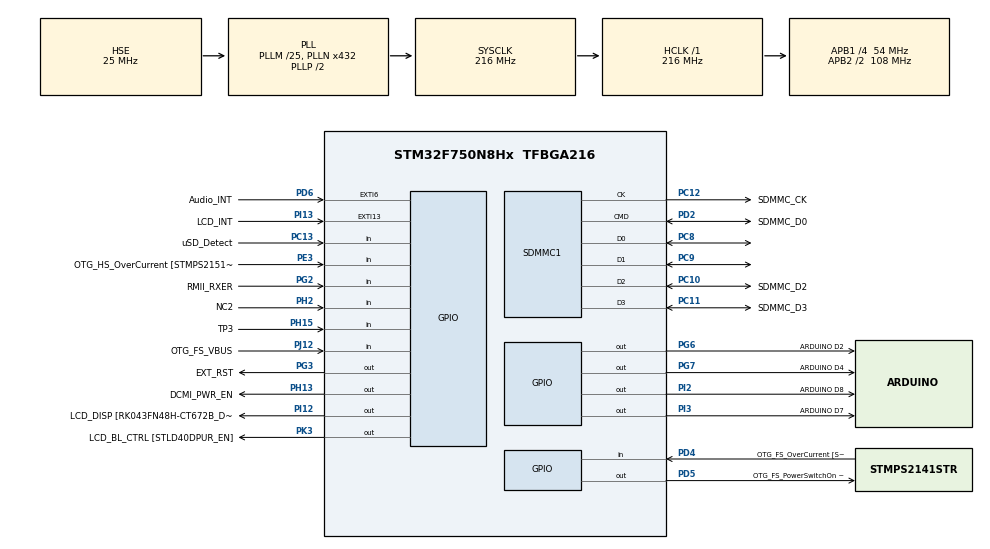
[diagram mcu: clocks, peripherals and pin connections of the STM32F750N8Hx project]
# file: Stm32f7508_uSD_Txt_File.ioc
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PD12.GPIO_Label=QSPI_D1 [N25Q128A13EF840E_DQ1]
SH.FMC_A0.0=FMC_A0
PH15.GPIO_Label=TP3
PG8.Signal=FMC_SDCLK
PG0.Signal=FMC_A10
PI15.GPIO_Label=LCD_R0 [RK043FN48H-CT672B_R0]
PK1.Signal=LTDC_G6
SH.FMC_D5_DA5.0=FMC_D5
PF10.GPIO_PuPd=GPIO_NOPULL
SH.FMC_D9_DA9.0=FMC_D9
PG15.GPIO_Label=FMC_SDNCAS [MT48LC4M32B2B5-6A_CAS]
PF7.Signal=ADC3_IN5
SH.FMC_SDNWE.0=FMC_SDNWE
PH9.Signal=DCMI_D0
SH.FMC_D11_DA11.0=FMC_D11
RCC.APB2TimFreq_Value=216000000
PB6.Signal=QUADSPI_BK1_NCS
PC7.Signal=USART6_RX
PD0.Signal=FMC_D2_DA2
PD8.Signal=FMC_D13_DA13
PE1.Signal=FMC_NBL1
PF1.GPIO_Label=FMC_A1 [MT48LC4M32B2B5-6A_A1]
PI4.GPIO_Label=SAI2_MCLKA [WM8994ECS/R_MCLK1]
PK4.GPIO_Label=LCD_B5 [RK043FN48H-CT672B_B5]
PD1.GPIO_Label=FMC_D3 [MT48LC4M32B2B5-6A_DQ3]
PB12.GPIO_Label=ULPI_D5 [USB3320C-EZK_D5]
PF12.GPIO_Label=FMC_A6 [MT48LC4M32B2B5-6A_A6]
SH.S_TIM12_CH1.0=TIM12_CH1
PC4.GPIO_Label=RMII_RXD0 [LAN8742A-CZ-TR_RXD0]
PE9.Signal=FMC_D6_DA6
SH.FMC_A2.0=FMC_A2
PB1.GPIO_Label=ULPI_D2 [USB3320C-EZK_D2]
PE4.GPIO_Label=LCD_B0 [RK043FN48H-CT672B_B0]
PG4.GPIO_Label=FMC_BA0 [MT48LC4M32B2B5-6A_BA0]
PC9.Mode=SD_4_bits_Wide_bus
PA8.Signal=S_TIM1_CH1
SH.FMC_D1_DA1.0=FMC_D1
PJ14.Signal=LTDC_B2
PB9.Signal=I2C1_SDA
Mcu.Package=TFBGA216
PB1.Signal=USB_OTG_HS_ULPI_D2
PB14.GPIO_PuPd=GPIO_NOPULL
PD12.Signal=QUADSPI_BK1_IO1
PA10.Signal=USB_OTG_FS_ID
PE12.GPIO_Label=FMC_D9 [MT48LC4M32B2B5-6A_DQ9]
PC11.Mode=SD_4_bits_Wide_bus
RCC.APB2CLKDivider=RCC_HCLK_DIV2
RCC.APB1TimFreq_Value=108000000
PC14/OSC32_IN.GPIO_Label=RCC_OSC32_IN
PF9.GPIO_PuPd=GPIO_NOPULL
PA4.GPIO_Label=DCMI_HSYNC
PA8.GPIO_Speed=GPIO_SPEED_FREQ_LOW
PD15.Signal=FMC_D1_DA1
PJ1.GPIO_Label=LCD_R2 [RK043FN48H-CT672B_R2]
PG12.Signal=LTDC_B4
SH.FMC_A4.0=FMC_A4
PK4.Signal=LTDC_B5
PH13.Signal=GPIO_Output
PI13.GPIO_ModeDefaultEXTI=GPIO_MODE_EVT_RISING
PG5.Signal=FMC_A15_BA1
PC13.Signal=GPIO_Input
SH.FMC_D10_DA10.0=FMC_D10
PD3.Signal=DCMI_D5
PC2.Signal=USB_OTG_HS_ULPI_DIR
PI12.Signal=GPIO_Output
RCC.PWR_Regulator_Voltage_Scale=PWR_REGULATOR_VOLTAGE_SCALE1
PJ11.Signal=LTDC_G4
PF8.GPIO_Label=ARDUINO A3
PD10.Signal=FMC_D15_DA15
PB8.GPIO_Label=ARDUINO SCL/D15
PJ8.GPIO_Label=LCD_G1 [RK043FN48H-CT672B_G1]
PJ3.Signal=LTDC_R4
PI8.GPIO_Label=NC1 [TP2]
PA8.GPIO_Label=ARDUINO PWM/D10
PE8.GPIO_Label=FMC_D5 [MT48LC4M32B2B5-6A_DQ5]
PH11.GPIO_Label=DCMI_D2
PJ11.GPIO_Label=LCD_G4 [RK043FN48H-CT672B_G4]
PB14.Signal=SPI2_MISO
PA5.Signal=USB_OTG_HS_ULPI_CK
PC12.Mode=SD_4_bits_Wide_bus
PF10.GPIO_Mode=GPIO_MODE_ANALOG
PJ4.GPIO_Label=LCD_R5 [RK043FN48H-CT672B_R5]
PE1.GPIO_Label=FMC_NBL1 [MT48LC4M32B2B5-6A_DQM1]
PK7.GPIO_Label=LCD_DE [RK043FN48H-CT672B_DE]
PI7.Signal=SAI2_FS_A
SH.FMC_A6.0=FMC_A6
PE14.Signal=FMC_D11_DA11
PB4.GPIO_Label=ARDUINO PWM/D3
PB15.GPIO_Label=ARDUINO MOSI/PWM/D11
PG7.GPIO_Label=ARDUINO D4
PI2.Signal=GPIO_Output
PF4.GPIO_Label=FMC_A4 [MT48LC4M32B2B5-6A_A4]
PA1.GPIO_Label=RMII_REF_CLK [LAN8742A-CZ-TR_REFCLK0]
PF13.Signal=FMC_A7
PA0/WKUP.GPIO_PuPd=GPIO_NOPULL
PJ15.GPIO_Label=LCD_B3 [RK043FN48H-CT672B_B3]
PC7.GPIO_Label=ARDUINO RX/D0
PC8.Mode=SD_4_bits_Wide_bus
PA5.GPIO_Label=ULPI_CLK [USB3320C-EZK_CLKOUT]
PE5.GPIO_Label=DCMI_D6
PC12.GPIO_Label=SDMMC_CK
PJ8.Signal=LTDC_G1
PJ0.GPIO_Label=LCD_R1 [RK043FN48H-CT672B_R1]
ProjectManager.HeapSize=0x200
PH6.Signal=S_TIM12_CH1
NVIC.PriorityGroup=NVIC_PRIORITYGROUP_4
PF0.GPIO_Label=FMC_A0 [MT48LC4M32B2B5-6A_A0]
PI1.GPIO_Mode=GPIO_MODE_AF_PP
PE3.Signal=GPIO_Input
PC15/OSC32_OUT.Signal=RCC_OSC32_OUT
PF4.Signal=FMC_A4
PD2.Signal=SDMMC1_CMD
PI1.GPIO_Label=ARDUINO SCK/D13
Mcu.Family=STM32F7
PK3.Signal=GPIO_Output
SH.FMC_A8.0=FMC_A8
PC15/OSC32_OUT.GPIO_Label=RCC_OSC32_OUT
PH14.Signal=DCMI_D4
PH10.Signal=DCMI_D1
SH.FMC_D14_DA14.0=FMC_D14
PG2.Signal=GPIO_Input
PE11.GPIO_Label=FMC_D8 [MT48LC4M32B2B5-6A_DQ8]
PD0.GPIO_Label=FMC_D2 [MT48LC4M32B2B5-6A_DQ2]
SH.FMC_A14_BA0.0=FMC_BA0
SH.FMC_A11.0=FMC_A11
PB13.GPIO_Label=ULPI_D6 [USB3320C-EZK_D6]
PG5.GPIO_Label=FMC_BA1 [MT48LC4M32B2B5-6A_BA1]
PB15.Signal=SPI2_MOSI
PG15.Signal=FMC_SDNCAS
PG11.Signal=ETH_TX_EN
PJ5.GPIO_Label=LCD_R6 [RK043FN48H-CT672B_R6]
PJ14.GPIO_Label=LCD_B2 [RK043FN48H-CT672B_B2]
PD13.Signal=QUADSPI_BK1_IO3
PA15.GPIO_Label=ARDUINO PWM/D9
PJ2.Signal=LTDC_R3
RCC.FLatency=FLASH_LATENCY_7
SH.FMC_NBL1.0=FMC_NBL1
PA15.GPIO_ModeDefaultPP=GPIO_MODE_AF_PP
RCC.HSE_VALUE=25000000
PF7.GPIO_Mode=GPIO_MODE_ANALOG
PF8.GPIO_PuPd=GPIO_NOPULL
PH7.GPIO_Label=LCD_SCL [RK043FN48H-CT672B_SCL]
PJ7.GPIO_Label=LCD_G0 [RK043FN48H-CT672B_G0]
PF11.Signal=FMC_SDNRAS
PC11.GPIO_Label=SDMMC_D3
PJ12.GPIO_Label=OTG_FS_VBUS
PB7.Signal=USART1_RX
SH.S_TIM3_CH1.0=TIM3_CH1
PB7.GPIO_Label=VCP_RX [STM32F103CBT6_PA2]
PD13.GPIO_Label=QSPI_D3 [N25Q128A13EF840E_DQ3]
PA6.Signal=DCMI_PIXCLK
PB15.GPIO_PuPd=GPIO_NOPULL
PD5.GPIO_Label=OTG_FS_PowerSwitchOn [STMPS2141STR_EN]
PA15.Signal=S_TIM2_CH1_ETR
PF8.Signal=ADC3_IN6
PG0.GPIO_Label=FMC_A10 [MT48LC4M32B2B5-6A_A10]
PI0.GPIO_Label=ARDUINO PWM/CS/D5
PA0/WKUP.GPIO_Mode=GPIO_MODE_ANALOG
PB5.GPIO_Label=ULPI_D7 [USB3320C-EZK_D7]
PG11.GPIO_Label=RMII_TX_EN [LAN8742A-CZ-TR_TXEN]
PD3.GPIO_Label=DCMI_D5
PC5.Signal=ETH_RXD1
PE7.Signal=FMC_D4_DA4
PD6.Signal=GPXTI6
PF3.GPIO_Label=FMC_A3 [MT48LC4M32B2B5-6A_A3]
PE2.GPIO_Label=QSPI_D2 [N25Q128A13EF840E_DQ2]
PB4.Signal=S_TIM3_CH1
PG2.GPIO_Label=RMII_RXER
PA3.Signal=USB_OTG_HS_ULPI_D0
PK6.Signal=LTDC_B7
PD15.GPIO_Label=FMC_D1 [MT48LC4M32B2B5-6A_DQ1]
PG7.Signal=GPIO_Output
PH12.GPIO_Label=DCMI_D3
PC11.Signal=SDMMC1_D3
PI14.Signal=LTDC_CLK
PC8.Signal=SDMMC1_D0
PC10.Mode=SD_4_bits_Wide_bus
PE14.GPIO_Label=FMC_D11 [MT48LC4M32B2B5-6A_DQ11]
PD9.Signal=FMC_D14_DA14
PA9.GPIO_PuPd=GPIO_NOPULL
PA12.GPIO_Label=OTG_FS_P
PD8.GPIO_Label=FMC_D13 [MT48LC4M32B2B5-6A_DQ13]
PG8.GPIO_Label=FMC_SDCLK [MT48LC4M32B2B5-6A_CLK]
PA13.Signal=SYS_JTMS-SWDIO
SH.S_TIM1_CH1.0=TIM1_CH1
PF6.Signal=ADC3_IN4
PB10.GPIO_Label=ULPI_D3 [USB3320C-EZK_D3]
SH.FMC_D13_DA13.0=FMC_D13
PH8.Signal=I2C3_SDA
RCC.USBFreq_Value=216000000
PF9.GPIO_Label=ARDUINO A2
PD10.GPIO_Label=FMC_D15 [MT48LC4M32B2B5-6A_DQ15]
PA1.Signal=ETH_REF_CLK
PD2.Mode=SD_4_bits_Wide_bus
board=STM32F7508-DK
RCC.VCOOutputFreq_Value=432000000
PI9.Signal=LTDC_VSYNC
PH4.GPIO_Label=ULPI_NXT [USB3320C-EZK_NXT]
PI13.GPIO_Label=LCD_INT
PI4.Signal=SAI2_MCLK_A
PC1.GPIO_Label=RMII_MDC [LAN8742A-CZ-TR_MDC]
SH.FMC_D12_DA12.0=FMC_D12
PF15.GPIO_Label=FMC_A9 [MT48LC4M32B2B5-6A_A9]
PI1.GPIO_Speed=GPIO_SPEED_FREQ_LOW
PF1.Signal=FMC_A1
PF8.GPIO_Mode=GPIO_MODE_ANALOG
PJ0.Signal=LTDC_R1
PE0.Signal=FMC_NBL0
PE7.GPIO_Label=FMC_D4 [MT48LC4M32B2B5-6A_DQ4]
PE12.Signal=FMC_D9_DA9
RCC.SYSCLKFreq_VALUE=216000000
PJ5.Signal=LTDC_R6
PA15.GPIO_Speed=GPIO_SPEED_FREQ_LOW
RCC.HSI_VALUE=16000000
PA8.GPIO_PuPd=GPIO_NOPULL
PH0/OSC_IN.GPIO_Label=OSC_25M [NZ2520SB-25.00M_OUT]
PF9.GPIO_Mode=GPIO_MODE_ANALOG
PI3.GPIO_Label=ARDUINO D7
PH3.Signal=FMC_SDNE0
RCC.PLLM=25
RCC.PLLN=432
PA9.GPIO_Speed=GPIO_SPEED_FREQ_LOW
PB8.GPIO_Speed=GPIO_SPEED_FREQ_LOW
PJ2.GPIO_Label=LCD_R3 [RK043FN48H-CT672B_R3]
PB14.GPIO_Mode=GPIO_MODE_AF_PP
PB12.Signal=USB_OTG_HS_ULPI_D5
PJ13.Signal=LTDC_B1
PK1.GPIO_Label=LCD_G6 [RK043FN48H-CT672B_G6]
PA3.GPIO_Label=ULPI_D0 [USB3320C-EZK_D0]
SH.FMC_D7_DA7.0=FMC_D7
PK5.Signal=LTDC_B6
PB15.GPIO_Mode=GPIO_MODE_AF_PP
PH12.Signal=DCMI_D3
VP_FATFS_VS_SDIO.Mode=SDIO
PG4.Signal=FMC_A14_BA0
PC12.Signal=SDMMC1_CK
PB14.GPIO_Label=ARDUINO MISO/D12
PA14.GPIO_Label=SWCLK
PG6.GPIO_Label=ARDUINO D2
PH6.GPIO_Label=ARDUINO PWM/D6
PK6.GPIO_Label=LCD_B7 [RK043FN48H-CT672B_B7]
PC6.GPIO_Label=ARDUINO TX/D1
PB6.GPIO_Label=QSPI_NCS [N25Q128A13EF840E_S]
PI6.GPIO_Label=SAI2_SDA [WM8994ECS/R_DACDAT1]
PJ6.GPIO_Label=LCD_R7 [RK043FN48H-CT672B_R7]
PB13.Signal=USB_OTG_HS_ULPI_D6
PD6.GPIO_Label=Audio_INT
PG13.Signal=ETH_TXD0
PE6.GPIO_Label=DCMI_D7
PF6.GPIO_Label=ARDUINO A5
RCC.SYSCLKSource=RCC_SYSCLKSOURCE_PLLCLK
PJ10.Signal=LTDC_G3
SH.FMC_A15_BA1.0=FMC_BA1
PJ13.GPIO_Label=LCD_B1 [RK043FN48H-CT672B_B1]
PI0.GPIO_PuPd=GPIO_NOPULL
PH5.Signal=FMC_SDNWE
PD4.Signal=GPIO_Input
PH1/OSC_OUT.Signal=RCC_OSC_OUT
PC3.Signal=FMC_SDCKE0
PE5.Signal=DCMI_D6
PF10.GPIO_Label=ARDUINO A1
PH10.GPIO_Label=DCMI_D1
PB2.Signal=QUADSPI_CLK
PI6.Signal=SAI2_SD_A
PI3.Signal=GPIO_Output
PE2.Signal=QUADSPI_BK1_IO2
PF3.Signal=FMC_A3
PE10.Signal=FMC_D7_DA7
PD6.GPIO_ModeDefaultEXTI=GPIO_MODE_EVT_RISING
PJ4.Signal=LTDC_R5
SH.FMC_A1.0=FMC_A1
PH2.Signal=GPIO_Input
SH.FMC_SDCLK.0=FMC_SDCLK
PF14.Signal=FMC_A8
PF6.GPIO_Mode=GPIO_MODE_ANALOG
PE10.GPIO_Label=FMC_D7 [MT48LC4M32B2B5-6A_DQ7]
SH.FMC_D3_DA3.0=FMC_D3
PI10.GPIO_Label=LCD_HSYNC [RK043FN48H-CT672B_HSYNC]
PB7.GPIO_PuPd=GPIO_NOPULL
PH15.Signal=GPIO_Input
PD9.GPIO_Label=FMC_D14 [MT48LC4M32B2B5-6A_DQ14]
PG9.Signal=DCMI_VSYNC
PA9.GPIO_Label=VCP_TX [STM32F103CBT6_PA3]
PC6.Signal=USART6_TX
PB11.GPIO_Label=ULPI_D4 [USB3320C-EZK_D4]
PD7.Signal=SPDIFRX_IN0
PD1.Signal=FMC_D3_DA3
PA11.GPIO_Label=OTG_FS_N
PF14.GPIO_Label=FMC_A8 [MT48LC4M32B2B5-6A_A8]
PC0.Signal=USB_OTG_HS_ULPI_STP
RCC.APB1CLKDivider=RCC_HCLK_DIV4
PF13.GPIO_Label=FMC_A7 [MT48LC4M32B2B5-6A_A7]
PG13.GPIO_Label=RMII_TXD0 [LAN8742A-CZ-TR_TXD0]
PG10.Signal=SAI2_SD_B
SH.FMC_A3.0=FMC_A3
PJ7.Signal=LTDC_G0
PI0.GPIO_Speed=GPIO_SPEED_FREQ_LOW
PB14.GPIO_Speed=GPIO_SPEED_FREQ_LOW
SH.FMC_D15_DA15.0=FMC_D15
PA9.Signal=USART1_TX
PB4.GPIO_PuPd=GPIO_NOPULL
PE9.GPIO_Label=FMC_D6 [MT48LC4M32B2B5-6A_DQ6]
PB10.Signal=USB_OTG_HS_ULPI_D3
PJ15.Signal=LTDC_B3
PH9.GPIO_Label=DCMI_D0
PI9.GPIO_Label=LCD_VSYNC [RK043FN48H-CT672B_VSYNC]
PA8.GPIO_ModeDefaultPP=GPIO_MODE_AF_PP
PE15.Signal=FMC_D12_DA12
PE8.Signal=FMC_D5_DA5
PI1.Signal=SPI2_SCK
PA0/WKUP.GPIO_Label=ARDUINO A0
PG14.GPIO_Label=RMII_TXD1 [LAN8742A-CZ-TR_TXD1]
SH.FMC_SDNCAS.0=FMC_SDNCAS
PF7.GPIO_PuPd=GPIO_NOPULL
PH14.GPIO_Label=DCMI_D4
PA4.Signal=DCMI_HSYNC
PB5.Signal=USB_OTG_HS_ULPI_D7
PE13.GPIO_Label=FMC_D10 [MT48LC4M32B2B5-6A_DQ10]
PD11.Signal=QUADSPI_BK1_IO0
SH.FMC_A5.0=FMC_A5
PA11.Signal=USB_OTG_FS_DM
SH.S_TIM2_CH1_ETR.0=TIM2_CH1
PK3.GPIO_Label=LCD_BL_CTRL [STLD40DPUR_EN]
PF9.Signal=ADC3_IN7
PF6.GPIO_PuPd=GPIO_NOPULL
PC3.GPIO_Label=FMC_SDCKE0 [MT48LC4M32B2B5-6A_CKE]
PG3.GPIO_Label=EXT_RST
PB0.Signal=USB_OTG_HS_ULPI_D1
PC1.Signal=ETH_MDC
PG10.GPIO_Label=SAI2_SDB [WM8994ECS/R_ADCDAT1]
PD2.GPIO_Label=SDMMC_D0
PH2.GPIO_Label=NC2
PK7.Signal=LTDC_DE
RCC.CortexFreq_Value=216000000
PG6.Signal=GPIO_Output
PC10.Signal=SDMMC1_D2
SH.FMC_NBL0.0=FMC_NBL0
PC0.GPIO_Label=ULPI_STP [USB3320C-EZK_STP]
SH.FMC_D6_DA6.0=FMC_D6
SDMMC1.ClockDiv=32
PA0/WKUP.Signal=ADCx_IN0
PB0.GPIO_Label=ULPI_D1 [USB3320C-EZK_D1]
PH5.GPIO_Label=FMC_SDNME [MT48LC4M32B2B5-6A_WE]
PI5.GPIO_Label=SAI2_SCKA [WM8994ECS/R_BCLK1]
PC13.GPIO_Label=uSD_Detect
PK5.GPIO_Label=LCD_B6 [RK043FN48H-CT672B_B6]
PB11.Signal=USB_OTG_HS_ULPI_D4
PI14.GPIO_Label=LCD_CLK [RK043FN48H-CT672B_CLK]
ProjectManager.StackSize=0x400
PJ6.Signal=LTDC_R7
SH.FMC_A7.0=FMC_A7
PA12.Signal=USB_OTG_FS_DP
PH0/OSC_IN.Mode=HSE-External-Oscillator
PD11.GPIO_Label=QSPI_D0 [N25Q128A13EF840E_DQ0]
RCC.HCLKFreq_Value=216000000
PF11.GPIO_Label=FMC_SDNRAS [MT48LC4M32B2B5-6A_RAS]
PF12.Signal=FMC_A6
PI13.Signal=GPXTI13
SH.FMC_A10.0=FMC_A10
RCC.AHBFreq_Value=216000000
SH.FMC_D8_DA8.0=FMC_D8
PI8.Signal=RTC_TS
SH.FMC_D2_DA2.0=FMC_D2
PE13.Signal=FMC_D10_DA10
PF7.GPIO_Label=ARDUINO A4
PI1.GPIO_PuPd=GPIO_NOPULL
PI5.Signal=SAI2_SCK_A
PI0.Signal=S_TIM5_CH4
PA10.GPIO_Label=OTG_FS_ID
SH.ADCx_IN0.0=ADC3_IN0
SH.FMC_SDNRAS.0=FMC_SDNRAS
PE4.Signal=LTDC_B0
PH1/OSC_OUT.Mode=HSE-External-Oscillator
PD7.GPIO_Label=SPDIF_RX0 [74LVC1G04SE_4]
PJ9.Signal=LTDC_G2
SH.FMC_D0_DA0.0=FMC_D0
PJ12.Signal=GPIO_Input
PC14/OSC32_IN.Signal=RCC_OSC32_IN
PK0.GPIO_Label=LCD_G5 [RK043FN48H-CT672B_G5]
PA2.GPIO_Label=RMII_MDIO [LAN8742A-CZ-TR_MDIO]
PF5.GPIO_Label=FMC_A5 [MT48LC4M32B2B5-6A_A5]
SH.FMC_A9.0=FMC_A9
PJ1.Signal=LTDC_R2
SH.FMC_D4_DA4.0=FMC_D4
PI12.GPIO_Label=LCD_DISP [RK043FN48H-CT672B_DISP] 
PE0.GPIO_Label=FMC_NBL0 [MT48LC4M32B2B5-6A_DQM0]
PH3.GPIO_Label=FMC_SDNE0 [MT48LC4M32B2B5-6A_CS]
PF5.Signal=FMC_A5
PH7.Signal=I2C3_SCL
PB9.GPIO_Speed=GPIO_SPEED_FREQ_LOW
PJ3.GPIO_Label=LCD_R4 [RK043FN48H-CT672B_R4]
PK2.GPIO_Label=LCD_G7 [RK043FN48H-CT672B_G7]
PF0.Signal=FMC_A0
PI2.GPIO_Label=ARDUINO D8
PC2.GPIO_Label=ULPI_DIR [USB3320C-EZK_DIR]
PB7.GPIO_Speed=GPIO_SPEED_FREQ_LOW
PB3.GPIO_Label=SWO
RCC.PLLSourceVirtual=RCC_PLLSOURCE_HSE
PK2.Signal=LTDC_G7
PB9.GPIO_Label=ARDUINO SDA/D14
PC10.GPIO_Label=SDMMC_D2
PH11.Signal=DCMI_D2
PG3.Signal=GPIO_Output
PG1.Signal=FMC_A11
PC4.Signal=ETH_RXD0
PI0.GPIO_ModeDefaultPP=GPIO_MODE_AF_PP
PI10.Signal=LTDC_HSYNC
PD5.Signal=GPIO_Output
PH13.GPIO_Label=DCMI_PWR_EN
PH8.GPIO_Label=LCD_SDA [RK043FN48H-CT672B_SDA]
PE15.GPIO_Label=FMC_D12 [MT48LC4M32B2B5-6A_DQ12]
PH4.Signal=USB_OTG_HS_ULPI_NXT
ProjectManager.TargetToolchain=STM32CubeIDE
PJ9.GPIO_Label=LCD_G2 [RK043FN48H-CT672B_G2]
PF2.Signal=FMC_A2
PE11.Signal=FMC_D8_DA8
RCC.LSE_VALUE=32768
PK0.Signal=LTDC_G5
PG9.GPIO_Label=DCMI_VSYNC
PG14.Signal=ETH_TXD1
PB4.GPIO_ModeDefaultPP=GPIO_MODE_AF_PP
PJ10.GPIO_Label=LCD_G3 [RK043FN48H-CT672B_G3]
PG1.GPIO_Label=FMC_A11 [MT48LC4M32B2B5-6A_A11]
PB9.GPIO_Mode=GPIO_MODE_AF_OD
PH0/OSC_IN.Signal=RCC_OSC_IN
PB4.GPIO_Speed=GPIO_SPEED_FREQ_LOW
RCC.APB2Freq_Value=108000000
PD4.GPIO_Label=OTG_FS_OverCurrent [STMPS2141STR_Fault]
PF10.Signal=ADC3_IN8
PB15.GPIO_Speed=GPIO_SPEED_FREQ_LOW
PI7.GPIO_Label=SAI2_FSA [WM8994ECS/R_LRCLK1]
SH.S_TIM5_CH4.0=TIM5_CH4
PF15.Signal=FMC_A9
PD14.GPIO_Label=FMC_D0 [MT48LC4M32B2B5-6A_DQ0]
PD5.PinState=GPIO_PIN_SET
PE6.Signal=DCMI_D7
Mcu.Name=STM32F750N8Hx
PA13.GPIO_Label=SWDIO
PA2.Signal=ETH_MDIO
PD14.Signal=FMC_D0_DA0
PB3.Signal=SYS_JTDO-SWO
PA7.GPIO_Label=RMII_CRS_DV [LAN8742A-CZ-TR_CRS_DV]
PC5.GPIO_Label=RMII_RXD1 [LAN8742A-CZ-TR_RXD1]
PA14.Signal=SYS_JTCK-SWCLK
PG12.GPIO_Label=LCD_B4 [RK043FN48H-CT672B_B4]
PA15.GPIO_PuPd=GPIO_NOPULL
PI15.Signal=LTDC_R0
PB8.Signal=I2C1_SCL
PE3.GPIO_Label=OTG_HS_OverCurrent [STMPS2151STR_FAULT]
PC9.Signal=SDMMC1_D1
PB8.GPIO_Mode=GPIO_MODE_AF_OD
RCC.APB1Freq_Value=54000000
PA7.Signal=ETH_CRS_DV
PF2.GPIO_Label=FMC_A2 [MT48LC4M32B2B5-6A_A2]

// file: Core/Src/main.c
/* USER CODE BEGIN Header */
/**
  ******************************************************************************
  * @file           : main.c
  * @brief          : Main program body
  ******************************************************************************
  * @attention
  *
  * <h2><center>&copy; Copyright (c) 2021 STMicroelectronics.
  * All rights reserved.</center></h2>
  *
  * This software component is licensed by ST under BSD 3-Clause license,
  * the "License"; You may not use this file except in compliance with the
  * License. You may obtain a copy of the License at:
  *                        opensource.org/licenses/BSD-3-Clause
  *
  ******************************************************************************
  */
/* USER CODE END Header */
#include "main.h"
#include "fatfs.h"
#include "sdmmc.h"
#include "gpio.h"

void SystemClock_Config(void);

int main(void)
{

  /* MCU Configuration--------------------------------------------------------*/

  /* Reset of all peripherals, Initializes the Flash interface and the Systick. */
  HAL_Init();

  /* Configure the system clock */
  SystemClock_Config();

  /* Initialize all configured peripherals */
  MX_GPIO_Init();
  MX_SDMMC1_SD_Init();
  MX_FATFS_Init();
  /* USER CODE BEGIN 2 */
  FATFS SDFATS;
  FIL MyFile;
  uint8_t SDPath[4];
  FRESULT res;
  uint32_t bytesWritten;
  uint8_t wtext[] = "Test sd with stm32f7-disco";
  if(FATFS_LinkDriver(&SD_Driver, SD_Path)==0)
		  {
	       if(f_mount(&SDFatFS, (TCHAR const*)SDPath, 0)!=0)
	       {
	    	   Error_Handler();

	       }
	       else
	       {
	    	   if(f_open(&MyFile,"SdCard.txt", FA_CREATE_ALWAYS|FA_WRITE)!=FR_OK)
	    	   {
	    		   Error_Handler();
	    	   }
	    	   else
	    	   {
	    		   res=f_write(&Myfile,wtext,sizeof(wtext)-1,(void*)&byteswritten);
	    		   char buf[]="Hello World";
	    		   res=f_write(&Myfile,buf,sizeof(wtext)-1,(void*)&byteswritten);
	    		   char buf1[]="This is test";
	    		   res=f_write(&Myfile,buf1,sizeof(wtext)-1,(void*)&byteswritten);
	    		  if((bytesWritten==0)||(res!=FR_OK))
	    		  {
	    			  Error_Handler();
	    		  }
	    		  else
	    		  {
	    			  f_close(&MyFile);
	    		  }
	    	   }
	       }

		  }
  FATFS_UnLinkDriver(SDPath);

  /* USER CODE END 2 */

  /* Infinite loop */
  while (1)
  {

  }
}

void SystemClock_Config(void)
{
  RCC_OscInitTypeDef RCC_OscInitStruct = {0};
  RCC_ClkInitTypeDef RCC_ClkInitStruct = {0};
  RCC_PeriphCLKInitTypeDef PeriphClkInitStruct = {0};

  /** Configure the main internal regulator output voltage
  */
  __HAL_RCC_PWR_CLK_ENABLE();
  __HAL_PWR_VOLTAGESCALING_CONFIG(PWR_REGULATOR_VOLTAGE_SCALE1);
  /** Initializes the RCC Oscillators according to the specified parameters
  * in the RCC_OscInitTypeDef structure.
  */
  RCC_OscInitStruct.OscillatorType = RCC_OSCILLATORTYPE_HSE;
  RCC_OscInitStruct.HSEState = RCC_HSE_ON;
  RCC_OscInitStruct.PLL.PLLState = RCC_PLL_ON;
  RCC_OscInitStruct.PLL.PLLSource = RCC_PLLSOURCE_HSE;
  RCC_OscInitStruct.PLL.PLLM = 25;
  RCC_OscInitStruct.PLL.PLLN = 432;
  RCC_OscInitStruct.PLL.PLLP = RCC_PLLP_DIV2;
  RCC_OscInitStruct.PLL.PLLQ = 2;
  if (HAL_RCC_OscConfig(&RCC_OscInitStruct) != HAL_OK)
  {
    Error_Handler();
  }
  /** Activate the Over-Drive mode
  */
  if (HAL_PWREx_EnableOverDrive() != HAL_OK)
  {
    Error_Handler();
  }
  /** Initializes the CPU, AHB and APB buses clocks
  */
  RCC_ClkInitStruct.ClockType = RCC_CLOCKTYPE_HCLK|RCC_CLOCKTYPE_SYSCLK
                              |RCC_CLOCKTYPE_PCLK1|RCC_CLOCKTYPE_PCLK2;
  RCC_ClkInitStruct.SYSCLKSource = RCC_SYSCLKSOURCE_PLLCLK;
  RCC_ClkInitStruct.AHBCLKDivider = RCC_SYSCLK_DIV1;
  RCC_ClkInitStruct.APB1CLKDivider = RCC_HCLK_DIV4;
  RCC_ClkInitStruct.APB2CLKDivider = RCC_HCLK_DIV2;

  if (HAL_RCC_ClockConfig(&RCC_ClkInitStruct, FLASH_LATENCY_7) != HAL_OK)
  {
    Error_Handler();
  }
  PeriphClkInitStruct.PeriphClockSelection = RCC_PERIPHCLK_SDMMC1;
  PeriphClkInitStruct.Sdmmc1ClockSelection = RCC_SDMMC1CLKSOURCE_SYSCLK;
  if (HAL_RCCEx_PeriphCLKConfig(&PeriphClkInitStruct) != HAL_OK)
  {
    Error_Handler();
  }
}

void Error_Handler(void)
{
  __disable_irq();
  while (1)
  {
  }
}

/************************ (C) COPYRIGHT STMicroelectronics *****END OF FILE****/
